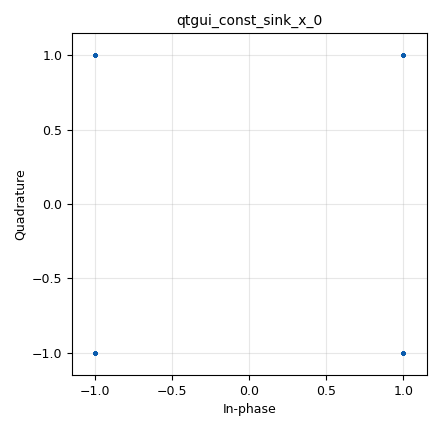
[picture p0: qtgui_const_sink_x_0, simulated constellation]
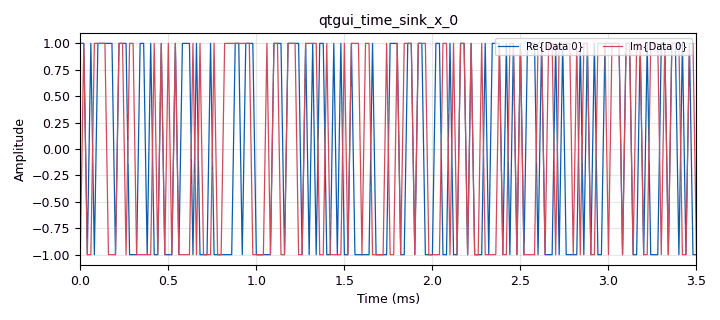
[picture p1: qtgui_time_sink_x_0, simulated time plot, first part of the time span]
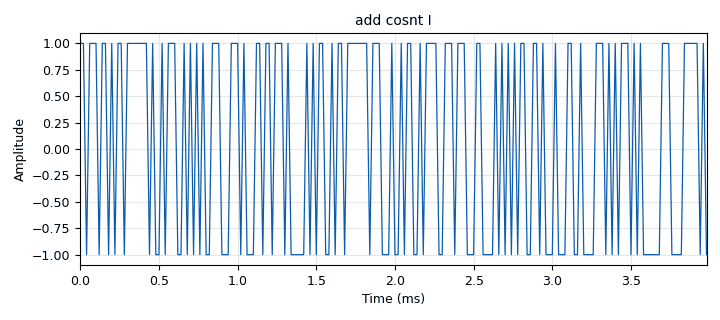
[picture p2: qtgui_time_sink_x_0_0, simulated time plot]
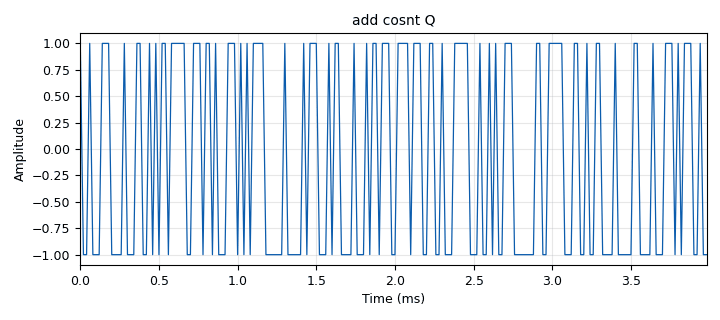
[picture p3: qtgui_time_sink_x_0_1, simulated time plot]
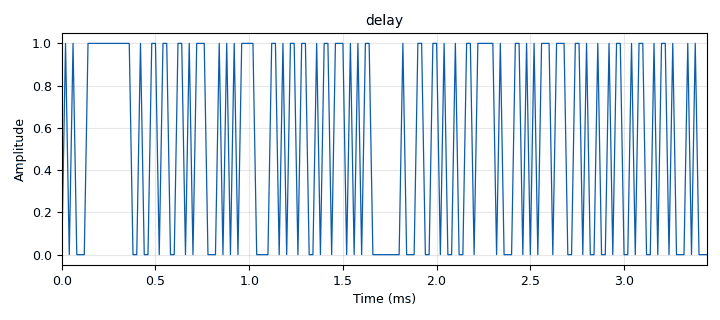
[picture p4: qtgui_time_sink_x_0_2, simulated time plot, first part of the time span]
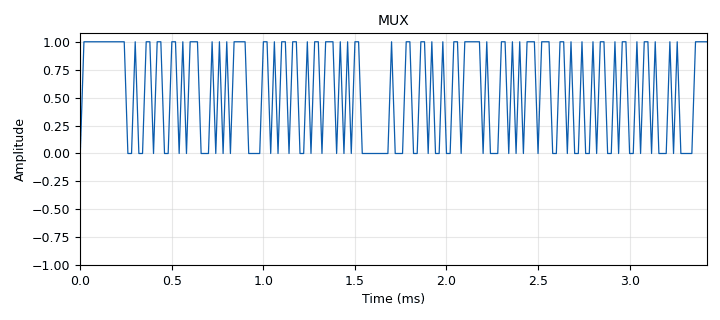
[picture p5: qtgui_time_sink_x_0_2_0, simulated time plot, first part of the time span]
options:
  parameters:
    author: Juan Gerez Jimenez
    generate_options: qt_gui
    id: nuevo_integrador
    output_language: python
    title: Not titled yet
  states: {}

blocks:
- name: noise_volt
  id: variable_qtgui_range
  parameters:
    label: Noise Voltage
    start: '0'
    step: '0.01'
    stop: '1'
    value: '0'
  states: {}
- name: samp_rate
  id: variable
  parameters:
    value: '50000'
  states: {}
- name: tx_delay
  id: variable_qtgui_range
  parameters:
    label: TX Delay
    start: '0'
    step: '1'
    stop: '50000'
    value: '0'
  states: {}
- name: analog_random_source_x_0
  id: analog_random_source_x
  parameters:
    comment: Random Source I
    max: '2'
    min: '0'
    num_samps: '1000000'
    repeat: 'True'
    type: byte
  states: {}
- name: analog_random_source_x_0_0
  id: analog_random_source_x
  parameters:
    comment: Random Source Q
    max: '2'
    min: '0'
    num_samps: '1000000'
    repeat: 'True'
    type: byte
  states: {}
- name: blocks_add_const_vxx_0
  id: blocks_add_const_vxx
  parameters:
    const: '-1'
    type: float
  states: {}
- name: blocks_add_const_vxx_0_0
  id: blocks_add_const_vxx
  parameters:
    const: '-1'
    type: float
  states: {}
- name: blocks_complex_to_float_0
  id: blocks_complex_to_float
  parameters: {}
  states: {}
- name: blocks_delay_0
  id: blocks_delay
  parameters:
    delay: tx_delay
    type: byte
  states: {}
- name: blocks_float_to_complex_0
  id: blocks_float_to_complex
  parameters: {}
  states: {}
- name: blocks_multiply_const_vxx_0
  id: blocks_multiply_const_vxx
  parameters:
    const: '2'
    type: float
  states: {}
- name: blocks_multiply_const_vxx_0_0
  id: blocks_multiply_const_vxx
  parameters:
    const: '2'
    type: float
  states: {}
- name: blocks_stream_mux_0
  id: blocks_stream_mux
  parameters:
    lengths: (1, 1)
    type: byte
  states: {}
- name: blocks_stream_mux_0_0
  id: blocks_stream_mux
  parameters:
    lengths: (1, 1)
    type: byte
  states: {}
- name: blocks_throttle2_0
  id: blocks_throttle2
  parameters:
    samples_per_second: samp_rate
    type: complex
  states: {}
- name: blocks_throttle2_0_0
  id: blocks_throttle2
  parameters:
    samples_per_second: 2*samp_rate
    type: byte
  states: {}
- name: blocks_throttle2_0_1
  id: blocks_throttle2
  parameters:
    samples_per_second: 2*samp_rate
    type: byte
  states: {}
- name: blocks_uchar_to_float_0
  id: blocks_uchar_to_float
  parameters: {}
  states: {}
- name: blocks_uchar_to_float_0_0
  id: blocks_uchar_to_float
  parameters: {}
  states: {}
- name: blocks_uchar_to_float_0_0_0
  id: blocks_uchar_to_float
  parameters: {}
  states: {}
- name: blocks_uchar_to_float_0_1
  id: blocks_uchar_to_float
  parameters: {}
  states: {}
- name: blocks_unpacked_to_packed_xx_0
  id: blocks_unpacked_to_packed_xx
  parameters:
    bits_per_chunk: '1'
    endianness: gr.GR_MSB_FIRST
    type: byte
  states: {}
- name: blocks_unpacked_to_packed_xx_0_0
  id: blocks_unpacked_to_packed_xx
  parameters:
    bits_per_chunk: '1'
    endianness: gr.GR_MSB_FIRST
    type: byte
  states: {}
- name: channels_channel_model_0
  id: channels_channel_model
  parameters:
    epsilon: '1.0'
    freq_offset: '0.0'
    noise_voltage: noise_volt
    seed: '0'
    taps: '[1.0+0.0j]'
  states: {}
- name: digital_binary_slicer_fb_0
  id: digital_binary_slicer_fb
  parameters: {}
  states: {}
- name: digital_binary_slicer_fb_0_0
  id: digital_binary_slicer_fb
  parameters: {}
  states: {}
- name: fec_ber_bf_0
  id: fec_ber_bf
  parameters:
    berminerrors: '20'
    test_mode: 'False'
  states: {}
- name: qtgui_const_sink_x_0
  id: qtgui_const_sink_x
  parameters:
    autoscale: 'True'
    gui_hint: 2,1,1,1
    size: '1024'
    type: complex
  states: {}
- name: qtgui_number_sink_0
  id: qtgui_number_sink
  parameters:
    graph_type: qtgui.NUM_GRAPH_HORIZ
    gui_hint: 1,2,1,1
    type: float
  states: {}
- name: qtgui_time_sink_x_0
  id: qtgui_time_sink_x
  parameters:
    autoscale: 'True'
    gui_hint: 1,1,1,1
    size: '1024'
    srate: samp_rate
    type: complex
  states: {}
- name: qtgui_time_sink_x_0_0
  id: qtgui_time_sink_x
  parameters:
    autoscale: 'True'
    entags: 'False'
    gui_hint: 3,2,1,1
    name: '"add cosnt I"'
    size: '200'
    srate: samp_rate
    type: float
  states: {}
- name: qtgui_time_sink_x_0_1
  id: qtgui_time_sink_x
  parameters:
    autoscale: 'True'
    gui_hint: 3,1,1,1
    name: '"add cosnt Q"'
    size: '200'
    srate: samp_rate
    type: float
  states: {}
- name: qtgui_time_sink_x_0_2
  id: qtgui_time_sink_x
  parameters:
    autoscale: 'True'
    gui_hint: 2,3,1,1
    name: '"delay"'
    size: '1024'
    srate: samp_rate
    type: float
  states: {}
- name: qtgui_time_sink_x_0_2_0
  id: qtgui_time_sink_x
  parameters:
    gui_hint: 3,3,1,1
    name: '"MUX"'
    size: '1024'
    srate: samp_rate
    type: float
  states: {}

connections:
- [analog_random_source_x_0, '0', blocks_stream_mux_0, '0']
- [analog_random_source_x_0, '0', blocks_uchar_to_float_0_0, '0']
- [analog_random_source_x_0_0, '0', blocks_stream_mux_0, '1']
- [analog_random_source_x_0_0, '0', blocks_uchar_to_float_0_0_0, '0']
- [blocks_add_const_vxx_0, '0', blocks_float_to_complex_0, '0']
- [blocks_add_const_vxx_0, '0', qtgui_time_sink_x_0_0, '0']
- [blocks_add_const_vxx_0_0, '0', blocks_float_to_complex_0, '1']
- [blocks_add_const_vxx_0_0, '0', qtgui_time_sink_x_0_1, '0']
- [blocks_complex_to_float_0, '0', digital_binary_slicer_fb_0, '0']
- [blocks_complex_to_float_0, '1', digital_binary_slicer_fb_0_0, '0']
- [blocks_delay_0, '0', blocks_uchar_to_float_0, '0']
- [blocks_delay_0, '0', blocks_unpacked_to_packed_xx_0, '0']
- [blocks_float_to_complex_0, '0', blocks_throttle2_0, '0']
- [blocks_multiply_const_vxx_0, '0', blocks_add_const_vxx_0, '0']
- [blocks_multiply_const_vxx_0_0, '0', blocks_add_const_vxx_0_0, '0']
- [blocks_stream_mux_0, '0', blocks_throttle2_0_1, '0']
- [blocks_stream_mux_0_0, '0', blocks_throttle2_0_0, '0']
- [blocks_stream_mux_0_0, '0', blocks_uchar_to_float_0_1, '0']
- [blocks_throttle2_0, '0', channels_channel_model_0, '0']
- [blocks_throttle2_0_0, '0', blocks_unpacked_to_packed_xx_0_0, '0']
- [blocks_throttle2_0_1, '0', blocks_delay_0, '0']
- [blocks_uchar_to_float_0, '0', qtgui_time_sink_x_0_2, '0']
- [blocks_uchar_to_float_0_0, '0', blocks_multiply_const_vxx_0, '0']
- [blocks_uchar_to_float_0_0_0, '0', blocks_multiply_const_vxx_0_0, '0']
- [blocks_uchar_to_float_0_1, '0', qtgui_time_sink_x_0_2_0, '0']
- [blocks_unpacked_to_packed_xx_0, '0', fec_ber_bf_0, '0']
- [blocks_unpacked_to_packed_xx_0_0, '0', fec_ber_bf_0, '1']
- [channels_channel_model_0, '0', blocks_complex_to_float_0, '0']
- [channels_channel_model_0, '0', qtgui_const_sink_x_0, '0']
- [channels_channel_model_0, '0', qtgui_time_sink_x_0, '0']
- [digital_binary_slicer_fb_0, '0', blocks_stream_mux_0_0, '0']
- [digital_binary_slicer_fb_0_0, '0', blocks_stream_mux_0_0, '1']
- [fec_ber_bf_0, '0', qtgui_number_sink_0, '0']

metadata:
  file_format: 1
  grc_version: 3.10.12.0
